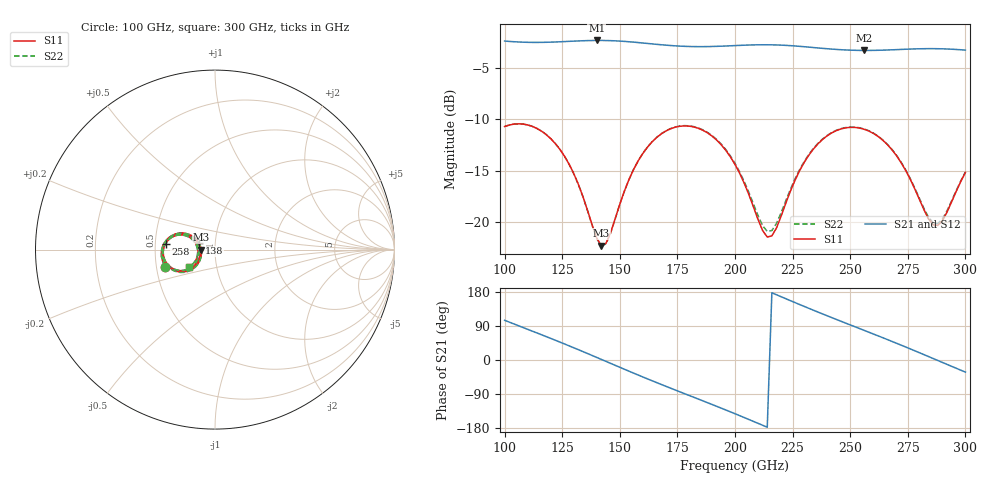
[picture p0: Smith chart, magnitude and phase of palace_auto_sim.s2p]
#  GHZ S DB R 50
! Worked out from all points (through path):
!   101 points, 100 GHz to 300 GHz, reference 50 ohm
!   highest |S21| = -2.29 dB at 140 GHz (marker M1); lowest = -3.3 dB at 256 GHz (marker M2)
!   group delay of S21, straight-line fit = 6.9 ps
!   lowest |S11| = -22.3 dB at 142 GHz (marker M3), VSWR 1.17, Z = 42.9 - j0.102 ohm
!   |S11| at or under -10 dB: start of sweep to end of sweep
!   |S22| runs from -22.4 to -10.4 dB; largest |S21 - S12| = 1.3e-13
!   S11 on the Smith chart (normalised r, x): 100 GHz: 0.56, -0.12; 138 GHz: 0.83, +0.06; 258 GHz: 0.57, +0.04; 300 GHz: 0.74, -0.15
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100  -10.71 -161.1  -2.35 104.8  -2.35 104.8  -10.70 -161.0
116  -11.15 169.2  -2.48 66.6  -2.48 66.6  -11.15 169.4
126  -13.60 153.6  -2.40 42.3  -2.40 42.3  -13.61 153.8
134  -17.55 149.6  -2.32 22.2  -2.32 22.2  -17.57 149.8
138  -20.33 157.7  -2.30 11.9  -2.30 11.9  -20.36 157.9
140  -21.61 167.3  -2.29 6.7  -2.29 6.7  -21.66 167.6
142  -22.33 -179.1  -2.30 1.5  -2.30 1.5  -22.39 -178.6
154  -15.87 -139.1  -2.42 -29.5  -2.42 -29.5  -15.87 -138.4
168  -11.42 -156.9  -2.72 -64.5  -2.72 -64.5  -11.40 -156.1
184  -10.87 175.3  -2.90 -102.9  -2.90 -102.9  -10.83 176.3
200  -14.41 152.5  -2.80 -141.8  -2.80 -141.8  -14.30 154.1
214  -21.49 179.6  -2.72 -177.5  -2.72 -177.5  -20.95 -179.7
224  -17.05 -142.6  -2.80 156.7  -2.80 156.7  -16.86 -143.9
234  -12.91 -148.7  -2.99 131.5  -2.99 131.5  -12.85 -149.4
244  -11.10 -163.8  -3.17 107.0  -3.17 107.0  -11.07 -164.1
256  -10.96 176.5  -3.27 78.4  -3.27 78.4  -10.94 176.5
258  -11.14 173.3  -3.27 73.6  -3.27 73.6  -11.11 173.3
268  -12.94 159.2  -3.21 49.4  -3.21 49.4  -12.90 159.5
278  -16.78 154.9  -3.12 24.4  -3.12 24.4  -16.70 155.4
286  -20.30 177.6  -3.10 4.0  -3.10 4.0  -20.12 177.8
290  -19.91 -162.6  -3.11 -6.3  -3.11 -6.3  -19.75 -163.0
300  -15.19 -146.1  -3.24 -31.9  -3.24 -31.9  -15.15 -146.6
